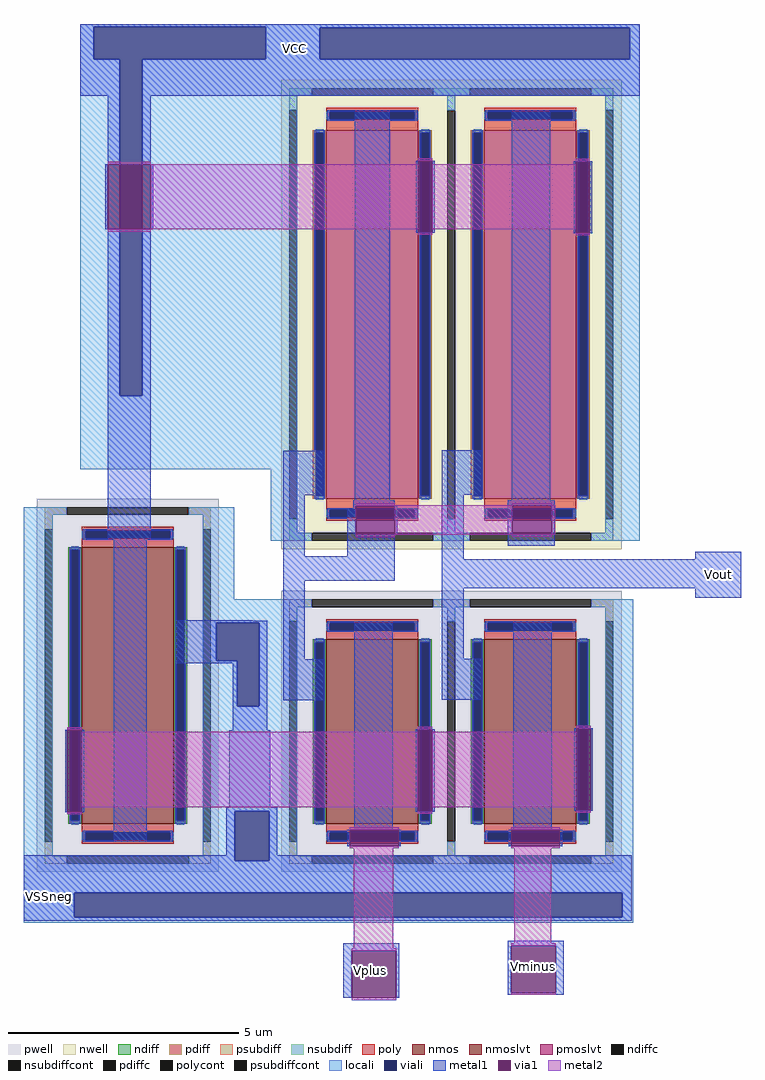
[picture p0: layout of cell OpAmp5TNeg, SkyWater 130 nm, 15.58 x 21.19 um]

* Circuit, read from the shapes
.subckt OpAmp5TNeg VCC VSSneg Vplus Vminus Vout
XM1 VSSneg VCC n1 VSSneg sky130_fd_pr__nfet_01v8_lvt w=6 l=2
XM2 n1 Vplus n2 VSSneg sky130_fd_pr__nfet_01v8 w=4 l=2
XM3 n1 Vminus Vout VSSneg sky130_fd_pr__nfet_01v8 w=4 l=2
XM4 VCC n2 n2 VCC sky130_fd_pr__pfet_01v8_lvt w=8 l=2
XM5 VCC n2 Vout VCC sky130_fd_pr__pfet_01v8_lvt w=8 l=2
.ends

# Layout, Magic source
magic
tech sky130B
magscale 1 2
<< locali >>
rect 468 2058 2898 2070
rect 468 1918 526 2058
rect 1274 2054 2898 2058
rect 1274 1918 1508 2054
rect 2854 1918 2898 2054
rect 468 456 638 1918
rect 736 1758 2898 1918
rect 736 456 1410 1758
rect 468 136 1410 456
rect 222 -1540 348 -28
rect 1000 -428 1136 -28
rect 1294 -174 1410 136
rect 2748 -174 2898 1758
rect 1000 -530 1410 -428
rect 1000 -694 1058 -530
rect 1000 -892 1150 -694
rect 1244 -892 1410 -530
rect 1000 -1348 1410 -892
rect 1000 -1540 1138 -1348
rect 222 -1564 1138 -1540
rect 1288 -1540 1410 -1348
rect 2748 -1540 2868 -428
rect 1288 -1564 2868 -1540
rect 222 -1702 2868 -1564
rect 222 -1808 442 -1702
rect 2820 -1808 2868 -1702
rect 222 -1832 2868 -1808
<< viali >>
rect 526 1918 1274 2058
rect 1508 1918 2854 2054
rect 638 456 736 1918
rect 1058 -694 1244 -530
rect 1150 -892 1244 -694
rect 1138 -1564 1288 -1348
rect 442 -1808 2820 -1702
<< metal1 >>
rect 468 2058 2898 2070
rect 468 1918 526 2058
rect 1274 2054 2898 2058
rect 1274 1918 1508 2054
rect 2854 1918 2898 2054
rect 468 1758 638 1918
rect 586 1462 638 1758
rect 736 1758 2898 1918
rect 736 1462 774 1758
rect 576 1178 586 1462
rect 774 1178 784 1462
rect 586 456 638 1178
rect 736 456 774 1178
rect 586 -164 774 456
rect 1348 24 1520 218
rect 402 -1352 412 -994
rect 474 -1352 484 -994
rect 612 -1474 756 -164
rect 1348 -242 1442 24
rect 1660 2 1812 1690
rect 1926 1164 1936 1476
rect 1996 1164 2006 1476
rect 2038 26 2210 220
rect 1654 -22 1834 2
rect 1654 -38 1664 -22
rect 1628 -148 1664 -38
rect 1834 -148 1844 -22
rect 1628 -242 1834 -148
rect 1348 -348 1834 -242
rect 2038 -254 2132 26
rect 2342 2 2508 1690
rect 2610 1162 2620 1474
rect 2680 1162 2690 1474
rect 2324 -20 2528 2
rect 2324 -146 2344 -20
rect 2514 -146 2528 -20
rect 2324 -196 2528 -146
rect 3138 -254 3338 -222
rect 886 -522 1216 -520
rect 886 -530 1280 -522
rect 886 -694 1058 -530
rect 886 -706 1150 -694
rect 1130 -892 1150 -706
rect 1244 -892 1280 -530
rect 1348 -688 1442 -348
rect 2038 -380 3338 -254
rect 1348 -866 1524 -688
rect 1130 -996 1280 -892
rect 1114 -1332 1292 -996
rect 1102 -1348 1322 -1332
rect 1102 -1540 1138 -1348
rect 222 -1564 1138 -1540
rect 1288 -1540 1322 -1348
rect 1658 -1428 1824 -530
rect 2038 -686 2132 -380
rect 3138 -422 3338 -380
rect 2038 -864 2214 -686
rect 1924 -1350 1934 -992
rect 1996 -1350 2006 -992
rect 2348 -1428 2514 -530
rect 2612 -1346 2622 -988
rect 2684 -1346 2694 -988
rect 1628 -1500 1638 -1428
rect 1850 -1500 1860 -1428
rect 2328 -1500 2338 -1428
rect 2550 -1500 2560 -1428
rect 1288 -1564 2862 -1540
rect 222 -1702 2862 -1564
rect 222 -1808 442 -1702
rect 2820 -1808 2862 -1702
rect 222 -1824 2862 -1808
rect 1610 -1954 1852 -1922
rect 1610 -2158 1646 -1954
rect 1840 -2158 1852 -1954
rect 2324 -1932 2566 -1910
rect 2324 -2136 2338 -1932
rect 2532 -2136 2566 -1932
rect 2324 -2146 2566 -2136
<< via1 >>
rect 586 1178 638 1462
rect 638 1178 736 1462
rect 736 1178 774 1462
rect 412 -1352 474 -994
rect 1936 1164 1996 1476
rect 1664 -148 1834 -22
rect 2620 1162 2680 1474
rect 2344 -146 2514 -20
rect 1934 -1350 1996 -992
rect 2622 -1346 2684 -988
rect 1638 -1500 1850 -1428
rect 2338 -1500 2550 -1428
rect 1646 -2158 1840 -1954
rect 2338 -2136 2532 -1932
<< metal2 >>
rect 1936 1476 1996 1486
rect 586 1462 774 1472
rect 774 1178 1936 1462
rect 586 1168 774 1178
rect 2620 1474 2680 1484
rect 1996 1178 2620 1462
rect 1936 1154 1996 1164
rect 2620 1152 2680 1162
rect 1664 -20 1834 -12
rect 2344 -20 2514 -10
rect 1664 -22 2344 -20
rect 1834 -146 2344 -22
rect 2514 -146 2530 -20
rect 1834 -148 2530 -146
rect 1664 -158 1834 -148
rect 2344 -156 2514 -148
rect 412 -994 474 -984
rect 1934 -992 1996 -982
rect 474 -1332 1934 -1004
rect 412 -1362 474 -1352
rect 2622 -988 2684 -978
rect 1996 -1332 2622 -1004
rect 1934 -1360 1996 -1350
rect 2622 -1356 2684 -1346
rect 1638 -1428 1850 -1418
rect 1638 -1510 1850 -1500
rect 2338 -1428 2550 -1418
rect 2338 -1510 2550 -1500
rect 1656 -1944 1826 -1510
rect 2352 -1922 2512 -1510
rect 2338 -1932 2532 -1922
rect 1646 -1954 1840 -1944
rect 2338 -2146 2532 -2136
rect 1646 -2168 1840 -2158
use sky130_fd_pr__pfet_01v8_lvt_GWPMZG  XM5 ~/Project/magic
transform 1 0 1736 0 1 809
box -396 -1019 396 1019
use sky130_fd_pr__pfet_01v8_lvt_GWPMZG  XM6
transform 1 0 2422 0 1 809
box -396 -1019 396 1019
use sky130_fd_pr__nfet_01v8_AHRV9L  XM16 ~/Project/magic
transform 1 0 2422 0 1 -1002
box -396 -610 396 610
use sky130_fd_pr__nfet_01v8_lvt_XVWV9B  XM17 ~/Project/magic
transform 1 0 674 0 1 -802
box -396 -810 396 810
use sky130_fd_pr__nfet_01v8_AHRV9L  XM23
transform 1 0 1736 0 1 -1002
box -396 -610 396 610
<< labels >>
flabel metal1 234 -1820 434 -1620 0 FreeSans 256 0 0 0 VSSneg
port 1 nsew
flabel metal1 1298 1864 1498 2064 0 FreeSans 256 0 0 0 VCC
port 0 nsew
flabel metal1 1630 -2142 1830 -1942 0 FreeSans 256 0 0 0 Vplus
port 3 nsew
flabel metal1 2334 -2122 2534 -1922 0 FreeSans 256 0 0 0 Vminus
port 4 nsew
flabel metal1 3138 -422 3338 -222 0 FreeSans 256 0 0 0 Vout
port 5 nsew
<< end >>

# cell sky130_fd_pr__pfet_01v8_lvt_GWPMZG: kit device sky130_fd_pr__pfet_01v8_lvt, w 8.0 l 2.0 m 1 nf 1 diffcov 100 polycov 100 guard 1 glc 1 grc 1 gtc 1 gbc 1 tbcov 100 rlcov 100 topc 1 botc 1 poverlap 0 doverlap 1 lmin 0.35 wmin 0.42 compatible {sky130_fd_pr__pfet_01v8 sky130_fd_pr__pfet_01v8_lvt sky130_fd_pr__pfet_01v8_hvt sky130_fd_pr__pfet_g5v0d10v5} full_metal 1 viasrc 100 viadrn 100 viagate 100 viagb 0 viagr 0 viagl 0 viagt 0

# cell sky130_fd_pr__nfet_01v8_AHRV9L: kit device sky130_fd_pr__nfet_01v8, w 4.0 l 2.0 m 1 nf 1 diffcov 100 polycov 100 guard 1 glc 1 grc 1 gtc 1 gbc 1 tbcov 100 rlcov 100 topc 1 botc 1 poverlap 0 doverlap 1 lmin 0.15 wmin 0.42 compatible {sky130_fd_pr__nfet_01v8 sky130_fd_pr__nfet_01v8_lvt sky130_fd_bs_flash__special_sonosfet_star sky130_fd_pr__nfet_g5v0d10v5 sky130_fd_pr__nfet_05v0_nvt sky130_fd_pr__nfet_03v3_nvt} full_metal 1 viasrc 100 viadrn 100 viagate 100 viagb 0 viagr 0 viagl 0 viagt 0

# cell sky130_fd_pr__nfet_01v8_lvt_XVWV9B: kit device sky130_fd_pr__nfet_01v8_lvt, w 6.0 l 2.0 m 1 nf 1 diffcov 100 polycov 100 guard 1 glc 1 grc 1 gtc 1 gbc 1 tbcov 100 rlcov 100 topc 1 botc 1 poverlap 0 doverlap 1 lmin 0.15 wmin 0.42 compatible {sky130_fd_pr__nfet_01v8 sky130_fd_pr__nfet_01v8_lvt sky130_fd_bs_flash__special_sonosfet_star sky130_fd_pr__nfet_g5v0d10v5 sky130_fd_pr__nfet_05v0_nvt sky130_fd_pr__nfet_03v3_nvt} full_metal 1 viasrc 100 viadrn 100 viagate 100 viagb 0 viagr 0 viagl 0 viagt 0
